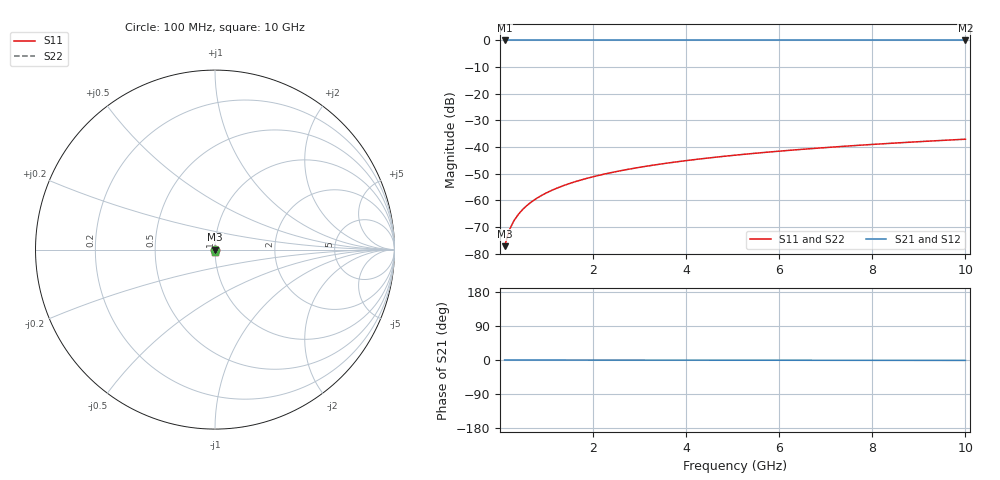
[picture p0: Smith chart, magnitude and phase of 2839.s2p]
# Hz S RI R 50.00
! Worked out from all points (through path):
!   100 points, 100 MHz to 10 GHz, reference 50 ohm
!   highest |S21| = 0.00 dB at 100 MHz (marker M1); lowest = 0.0 dB at 10 GHz (marker M2)
!   lowest |S11| = -77.1 dB at 100 MHz (marker M3), VSWR 1.00, Z = 50 - j0.0139 ohm
!   |S11| at or under -10 dB: start of sweep to end of sweep
!   |S22| runs from -77.1 to -37.0 dB; largest |S21 - S12| = 0
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1e8  4.72e-06 -0.000139  1 -0.000182  1 -0.000182  4.72e-06 -0.000139
2e8  4.52e-06 -0.000278  1 -0.000364  1 -0.000364  4.52e-06 -0.000278
3e8  4.27e-06 -0.000417  1 -0.000547  1 -0.000547  4.27e-06 -0.000417
4e8  3.96e-06 -0.000556  1 -0.000729  1 -0.000729  3.96e-06 -0.000556
5e8  3.59e-06 -0.000695  1 -0.000911  1 -0.000911  3.59e-06 -0.000695
6e8  3.18e-06 -0.000834  1 -0.00109  1 -0.00109  3.18e-06 -0.000834
7e8  2.71e-06 -0.000973  1 -0.00128  1 -0.00128  2.71e-06 -0.000973
8e8  2.19e-06 -0.00111  1 -0.00146  1 -0.00146  2.19e-06 -0.00111
9e8  1.62e-06 -0.00125  1 -0.00164  1 -0.00164  1.62e-06 -0.00125
1.1e9  3.15e-07 -0.00153  1 -0.00201  1 -0.00201  3.15e-07 -0.00153
1.4e9  -2.02e-06 -0.00195  1 -0.00255  1 -0.00255  -2.02e-06 -0.00195
1.8e9  -5.86e-06 -0.0025  1 -0.00328  1 -0.00328  -5.86e-06 -0.0025
2.1e9  -9.27e-06 -0.00292  1 -0.00383  1 -0.00383  -9.27e-06 -0.00292
2.5e9  -1.46e-05 -0.00348  1 -0.00457  1 -0.00457  -1.46e-05 -0.00348
2.9e9  -2.07e-05 -0.00404  1 -0.0053  1 -0.0053  -2.07e-05 -0.00404
3.4e9  -2.95e-05 -0.00474  1 -0.00622  1 -0.00622  -2.95e-05 -0.00474
4.2e9  -4.63e-05 -0.00586  0.9999 -0.00769  0.9999 -0.00769  -4.63e-05 -0.00586
5.1e9  -6.92e-05 -0.00713  0.9999 -0.00935  0.9999 -0.00935  -6.92e-05 -0.00713
5.9e9  -9.32e-05 -0.00826  0.9999 -0.0108  0.9999 -0.0108  -9.32e-05 -0.00826
6.7e9  -0.000121 -0.00939  0.9999 -0.0123  0.9999 -0.0123  -0.000121 -0.00939
8.4e9  -0.00019 -0.0118  0.9998 -0.0155  0.9998 -0.0155  -0.00019 -0.0118
1e10  -0.00027 -0.0141  0.9997 -0.0185  0.9997 -0.0185  -0.00027 -0.0141
